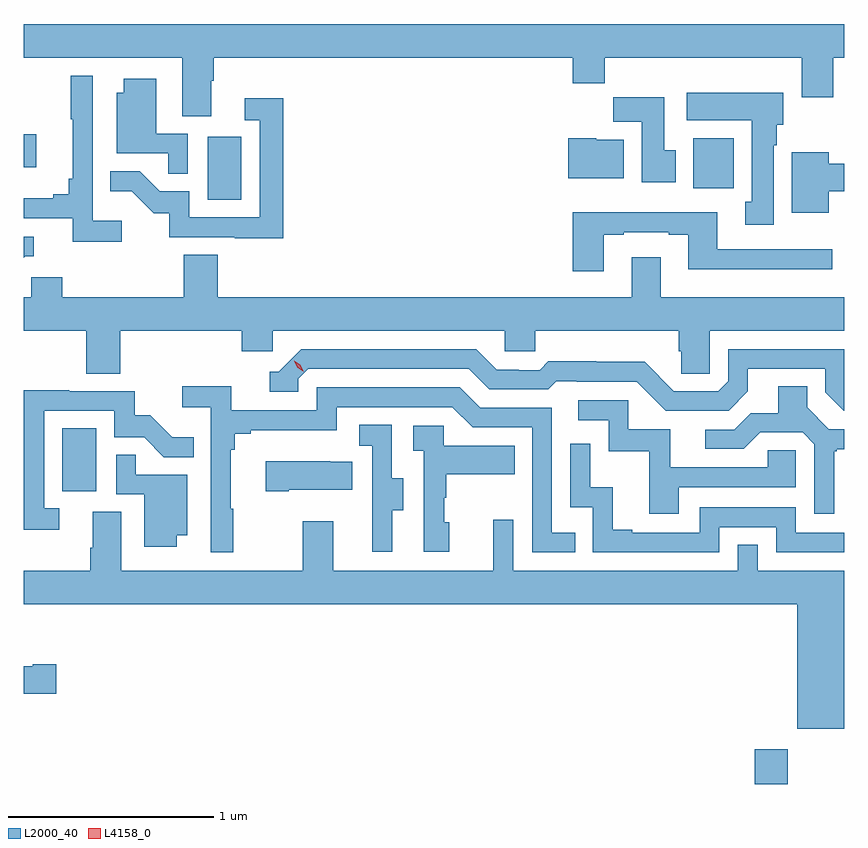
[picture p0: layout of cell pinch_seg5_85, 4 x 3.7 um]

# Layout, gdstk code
import gdstk
lib = gdstk.Library(unit=1e-6, precision=1e-09)
def R(c, l, rs):  # rectangles x0, y0, x1, y1
    for r in rs: c.add(gdstk.rectangle(r[:2], r[2:], *l))
def P(c, l, *ps):  # polygons
    for p in ps: c.add(gdstk.Polygon(p, *l))
L2000_40 = (2000, 40)
L4158_0 = (4158, 0)

pinch_seg5_85 = lib.new_cell('pinch_seg5_85')
R(pinch_seg5_85, L2000_40, [(1026.947,909.164,1027.107,909.334), (1023.572,910.59,1023.736,910.897), (1024.28,912.012,1024.444,912.319), (1026.647,912.068,1026.844,912.31), (1023.383,912.17,1023.445,912.33)])
P(pinch_seg5_85, L2000_40, [(1024.297,912.592),(1024.31,912.592),(1024.31,912.704),(1026.059,912.704),(1026.059,912.58),(1026.215,912.58),(1026.215,912.704),(1027.175,912.704),(1027.175,912.51),(1027.328,912.51),(1027.328,912.704),(1027.383,912.704),(1027.383,912.868),(1023.383,912.868),(1023.383,912.704),(1024.157,912.704),(1024.157,912.418),(1024.297,912.418)],
  [(1023.862,911.908),(1023.72,911.908),(1023.72,912.616),(1023.612,912.616),(1023.612,912.403),(1023.623,912.403),(1023.623,912.115),(1023.604,912.115),(1023.604,912.038),(1023.527,912.038),(1023.527,912.019),(1023.383,912.019),(1023.383,911.922),(1023.623,911.922),(1023.623,911.806),(1023.862,911.806)],
  [(1024.182,912.333),(1024.03,912.333),(1024.03,912.601),(1023.872,912.601),(1023.872,912.532),(1023.836,912.532),(1023.836,912.237),(1024.087,912.237),(1024.087,912.139),(1024.182,912.139)],
  [(1027.039,912.278),(1027.054,912.278),(1027.054,912.378),(1027.084,912.378),(1027.084,912.532),(1026.615,912.532),(1026.615,912.398),(1026.932,912.398),(1026.932,912.002),(1026.899,912.002),(1026.899,911.889),(1027.039,911.889)],
  [(1026.562,912.252),(1026.505,912.252),(1026.505,912.511),(1026.256,912.511),(1026.256,912.392),(1026.395,912.392),(1026.395,912.096),(1026.562,912.096)],
  [(1024.649,912.505),(1024.461,912.505),(1024.461,912.399),(1024.533,912.399),(1024.533,911.925),(1024.191,911.925),(1024.191,912.054),(1024.046,912.054),(1023.949,912.151),(1023.805,912.151),(1023.805,912.053),(1023.909,912.053),(1024.016,911.946),(1024.093,911.946),(1024.093,911.829),(1024.411,911.829),(1024.411,911.824),(1024.649,911.824)],
  [(1026.307,912.304),(1026.174,912.304),(1026.174,912.31),(1026.038,912.31),(1026.038,912.116),(1026.307,912.116)],
  [(1027.306,912.052),(1027.383,912.052),(1027.383,912.188),(1027.306,912.188),(1027.306,912.244),(1027.127,912.244),(1027.127,911.948),(1027.306,911.948)],
  [(1026.211,911.841),(1026.307,911.841),(1026.307,911.853),(1026.527,911.853),(1026.527,911.841),(1026.623,911.841),(1026.623,911.672),(1027.324,911.672),(1027.324,911.769),(1026.763,911.769),(1026.763,911.95),(1026.059,911.95),(1026.059,911.664),(1026.211,911.664)],
  [(1023.39,911.736),(1023.433,911.736),(1023.433,911.832),(1023.383,911.832),(1023.383,911.729)],
  [(1023.854,911.372),(1024.445,911.372),(1024.445,911.274),(1024.596,911.274),(1024.596,911.372),(1025.727,911.372),(1025.727,911.274),(1025.877,911.274),(1025.877,911.372),(1026.575,911.372),(1026.575,911.274),(1026.589,911.274),(1026.589,911.164),(1026.726,911.164),(1026.726,911.372),(1027.383,911.372),(1027.383,911.536),(1026.487,911.536),(1026.487,911.731),(1026.347,911.731),(1026.347,911.536),(1024.328,911.536),(1024.328,911.744),(1024.163,911.744),(1024.163,911.536),(1023.572,911.536),(1023.572,911.634),(1023.42,911.634),(1023.42,911.536),(1023.383,911.536),(1023.383,911.372),(1023.689,911.372),(1023.689,911.164),(1023.854,911.164)],
  [(1026.913,911.077),(1026.913,911.187),(1027.29,911.187),(1027.29,911.073),(1027.38,910.983),(1027.383,910.983),(1027.383,911.283),(1026.816,911.283),(1026.816,911.127),(1026.768,911.079),(1026.552,911.079),(1026.41,911.221),(1026.174,911.221),(1026.174,911.224),(1025.941,911.224),(1025.899,911.181),(1025.796,911.181),(1025.796,911.184),(1025.689,911.184),(1025.59,911.283),(1024.737,911.283),(1024.626,911.172),(1024.583,911.172),(1024.583,911.076),(1024.722,911.076),(1024.722,911.139),(1024.77,911.187),(1025.553,911.187),(1025.652,911.088),(1025.941,911.088),(1025.98,911.127),(1026.079,911.127),(1026.079,911.124),(1026.372,911.124),(1026.513,910.983),(1026.819,910.983)],
  [(1027.333,910.785),(1027.345,910.785),(1027.345,910.796),(1027.383,910.796),(1027.383,910.893),(1027.308,910.893),(1027.201,911),(1027.201,911.102),(1027.061,911.102),(1027.061,910.97),(1026.926,910.97),(1026.846,910.89),(1026.705,910.89),(1026.705,910.797),(1026.892,910.797),(1026.973,910.878),(1027.179,910.878),(1027.236,910.821),(1027.236,910.482),(1027.333,910.482)],
  [(1024.405,910.505),(1024.393,910.505),(1024.393,910.793),(1024.412,910.793),(1024.412,910.87),(1024.489,910.87),(1024.489,910.889),(1024.908,910.889),(1024.908,911.001),(1025.472,911.001),(1025.571,910.902),(1025.862,910.902),(1025.862,910.293),(1026.071,910.293),(1026.071,910.389),(1025.958,910.389),(1025.958,910.998),(1025.608,910.998),(1025.509,911.097),(1024.812,911.097),(1024.812,910.986),(1024.394,910.986),(1024.394,911.102),(1024.155,911.102),(1024.155,911),(1024.296,911),(1024.296,910.293),(1024.405,910.293)],
  [(1023.556,910.509),(1023.483,910.509),(1023.483,910.983),(1023.825,910.983),(1023.825,910.854),(1023.97,910.854),(1024.067,910.757),(1024.211,910.757),(1024.211,910.855),(1024.107,910.855),(1024,910.962),(1023.924,910.962),(1023.924,911.079),(1023.605,911.079),(1023.605,911.084),(1023.383,911.084),(1023.383,910.404),(1023.556,910.404)],
  [(1026.577,910.611),(1027.146,910.611),(1027.146,910.791),(1027.009,910.791),(1027.009,910.707),(1026.535,910.707),(1026.535,910.893),(1026.33,910.893),(1026.33,911.034),(1026.087,911.034),(1026.087,910.938),(1026.234,910.938),(1026.234,910.785),(1026.433,910.785),(1026.433,910.482),(1026.577,910.482)],
  [(1025.179,910.498),(1025.233,910.498),(1025.233,910.653),(1025.178,910.653),(1025.178,910.916),(1025.019,910.916),(1025.019,910.813),(1025.082,910.813),(1025.082,910.509),(1025.081,910.509),(1025.081,910.296),(1025.179,910.296)],
  [(1025.458,910.44),(1025.433,910.44),(1025.433,910.559),(1025.443,910.559),(1025.443,910.673),(1025.777,910.673),(1025.777,910.813),(1025.43,910.813),(1025.43,910.911),(1025.283,910.911),(1025.283,910.787),(1025.334,910.787),(1025.334,910.296),(1025.458,910.296)],
  [(1026.774,910.416),(1027.05,910.416),(1027.05,910.293),(1027.383,910.293),(1027.383,910.389),(1027.146,910.389),(1027.146,910.512),(1026.678,910.512),(1026.678,910.389),(1026.349,910.389),(1026.349,910.402),(1026.254,910.402),(1026.254,910.61),(1026.144,910.61),(1026.144,910.822),(1026.048,910.822),(1026.048,910.512),(1026.156,910.512),(1026.156,910.293),(1026.774,910.293)],
  [(1024.129,910.376),(1024.18,910.376),(1024.18,910.671),(1023.929,910.671),(1023.929,910.769),(1023.834,910.769),(1023.834,910.575),(1023.971,910.575),(1023.971,910.32),(1024.129,910.32)],
  [(1024.675,910.598),(1024.985,910.598),(1024.985,910.735),(1024.877,910.735),(1024.877,910.738),(1024.563,910.738),(1024.563,910.591),(1024.675,910.591)],
  [(1026.96,910.331),(1026.864,910.331),(1026.864,910.204),(1025.769,910.204),(1025.769,910.453),(1025.672,910.453),(1025.672,910.204),(1024.891,910.204),(1024.891,910.444),(1024.744,910.444),(1024.744,910.204),(1023.859,910.204),(1023.859,910.49),(1023.719,910.49),(1023.719,910.316),(1023.707,910.316),(1023.707,910.204),(1023.383,910.204),(1023.383,910.04),(1027.154,910.04),(1027.154,909.434),(1027.383,909.434),(1027.383,910.204),(1026.96,910.204)],
  [(1023.541,909.747),(1023.428,909.747),(1023.428,909.739),(1023.383,909.739),(1023.383,909.605),(1023.541,909.605)])
P(pinch_seg5_85, L4158_0, [(1024.747,911.173),(1024.716,911.194),(1024.701,911.227),(1024.701,911.227),(1024.701,911.227),(1024.732,911.207),(1024.747,911.174),(1024.747,911.173)])

lib.write_gds('pinch_seg5_85.gds')
